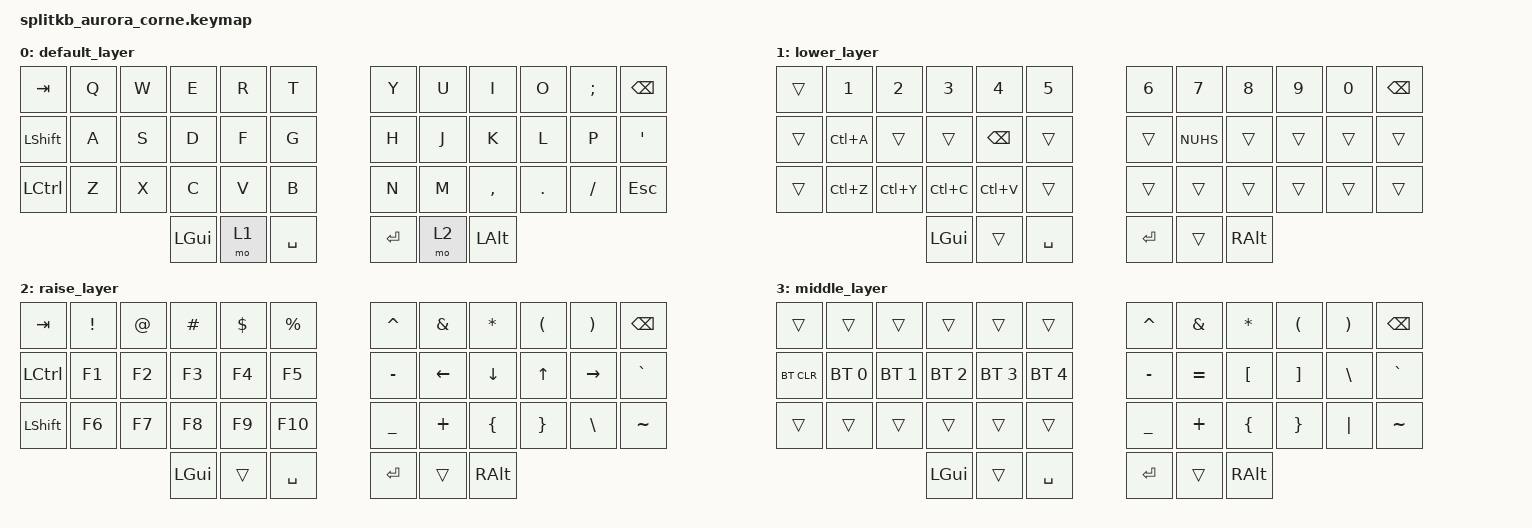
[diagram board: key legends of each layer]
/*
 * Copyright (c) 2020 The ZMK Contributors
 *
 * SPDX-License-Identifier: MIT
 */

#include <behaviors.dtsi>
#include <dt-bindings/zmk/bt.h>
#include <dt-bindings/zmk/keys.h>

/ {
    keymap {
        compatible = "zmk,keymap";

        default_layer {
            // -----------------------------------------------------------------------------------------
            // |  TAB |  Q  |  W  |  E  |  R  |  T  |   |  Y  |  U   |  I  |  O  |  P  | BSPC |
            // | CTRL |  A  |  S  |  D  |  F  |  G  |   |  H  |  J   |  K  |  L  |  ;  |  '   |
            // | SHFT |  Z  |  X  |  C  |  V  |  B  |   |  N  |  M   |  ,  |  .  |  /  | ESC  |
            //                    | GUI | LWR | SPC |   | ENT | RSE  | ALT |

            bindings = <
&kp TAB         &kp Q  &kp W  &kp E     &kp R  &kp T        &kp Y    &kp U  &kp I         &kp O    &kp SEMI  &kp BSPC
&kp LEFT_SHIFT  &kp A  &kp S  &kp D     &kp F  &kp G        &kp H    &kp J  &kp K         &kp L    &kp P     &kp SQT
&kp LCTRL       &kp Z  &kp X  &kp C     &kp V  &kp B        &kp N    &kp M  &kp COMMA     &kp DOT  &kp FSLH  &kp ESC
                              &kp LGUI  &mo 1  &kp SPACE    &kp RET  &mo 2  &kp LEFT_ALT
            >;
        };

        lower_layer {
            // -----------------------------------------------------------------------------------------
            // |  TAB |  1  |  2  |  3  |  4  |  5  |   |  6  |  7  |  8  |  9  |  0  | BSPC |
            // | BTCLR| BT1 | BT2 | BT3 | BT4 | BT5 |   | LFT | DWN |  UP | RGT |     |      |
            // | SHFT |     |     |     |     |     |   |     |     |     |     |     |      |
            //                    | GUI |     | SPC |   | ENT |     | ALT |

            bindings = <
&trans  &kp N1     &kp N2     &kp N3     &kp N4         &kp N5       &kp N6   &kp N7    &kp N8    &kp N9  &kp N0  &kp BSPC
&trans  &kp LC(A)  &trans     &trans     &kp BACKSPACE  &trans       &trans   &kp NUHS  &trans    &trans  &trans  &trans
&trans  &kp LC(Z)  &kp LC(Y)  &kp LC(C)  &kp LC(V)      &trans       &trans   &trans    &trans    &trans  &trans  &trans
                              &kp LGUI   &trans         &kp SPACE    &kp RET  &trans    &kp RALT
            >;
        };

        raise_layer {
            // -----------------------------------------------------------------------------------------
            // |  TAB |  !  |  @  |  #  |  $  |  %  |   |  ^  |  &  |  *  |  (  |  )  | BSPC |
            // | CTRL |     |     |     |     |     |   |  -  |  =  |  [  |  ]  |  \  |  `   |
            // | SHFT |     |     |     |     |     |   |  _  |  +  |  {  |  }  | "|" |  ~   |
            //                    | GUI |     | SPC |   | ENT |     | ALT |

            bindings = <
&kp TAB    &kp EXCL  &kp AT  &kp HASH  &kp DLLR  &kp PRCNT    &kp CARET  &kp AMPS  &kp ASTRK  &kp LPAR      &kp RPAR       &kp BSPC
&kp LCTRL  &kp F1    &kp F2  &kp F3    &kp F4    &kp F5       &kp MINUS  &kp LEFT  &kp DOWN   &kp UP_ARROW  &kp RIGHT      &kp GRAVE
&kp LSHFT  &kp F6    &kp F7  &kp F8    &kp F9    &kp F10      &kp UNDER  &kp PLUS  &kp LBRC   &kp RBRC      &kp BACKSLASH  &kp TILDE
                             &kp LGUI  &trans    &kp SPACE    &kp RET    &trans    &kp RALT
            >;
        };

        middle_layer {
            // -----------------------------------------------------------------------------------------
            // |  TAB |  !  |  @  |  #  |  $  |  %  |   |  ^  |  &  |  *  |  (  |  )  | BSPC |
            // | CTRL |     |     |     |     |     |   |  -  |  =  |  [  |  ]  |  \  |  `   |
            // | SHFT |     |     |     |     |     |   |  _  |  +  |  {  |  }  | "|" |  ~   |
            //                    | GUI |     | SPC |   | ENT |     | ALT |

            bindings = <
&trans      &trans        &trans        &trans        &trans        &trans          &kp CARET  &kp AMPS   &kp ASTRK  &kp LPAR  &kp RPAR  &kp BSPC
&bt BT_CLR  &bt BT_SEL 0  &bt BT_SEL 1  &bt BT_SEL 2  &bt BT_SEL 3  &bt BT_SEL 4    &kp MINUS  &kp EQUAL  &kp LBKT   &kp RBKT  &kp BSLH  &kp GRAVE
&trans      &trans        &trans        &trans        &trans        &trans          &kp UNDER  &kp PLUS   &kp LBRC   &kp RBRC  &kp PIPE  &kp TILDE
                                        &kp LGUI      &trans        &kp SPACE       &kp RET    &trans     &kp RALT
            >;
        };
    };

    conditional_layers {
        compatible = "zmk,conditional-layers";

        middle {
            if-layers = <2 1>;
            then-layer = <3>;
        };
    };
};
